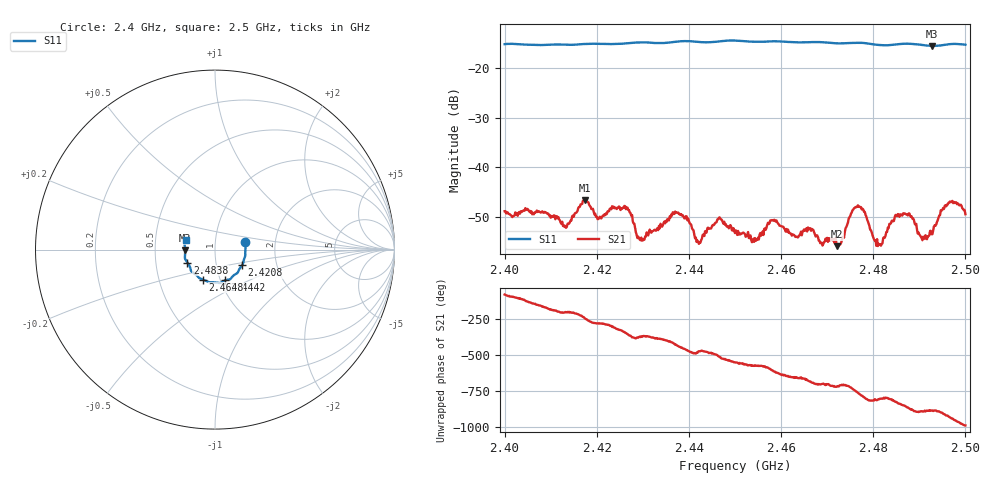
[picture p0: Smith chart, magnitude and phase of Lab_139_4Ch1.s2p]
# Hz S RI R 50
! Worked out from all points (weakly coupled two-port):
!   601 points, 2.4 GHz to 2.5 GHz, reference 50 ohm
!   highest |S21| = -46.57 dB at 2.4175 GHz (marker M1); lowest = -55.9 dB at 2.4722 GHz (marker M2)
!   lowest |S11| = -15.6 dB at 2.4928 GHz (marker M3), VSWR 1.40, Z = 35.8 - j0.356 ohm
!   |S11| at or under -10 dB: start of sweep to end of sweep
!   S12 and S22 are empty: the file has one direction only
!   S11 on the Smith chart (normalised r, x): 2.4 GHz: 1.40, +0.12; 2.4208 GHz: 1.33, -0.24; 2.4442 GHz: 1.05, -0.37; 2.4648 GHz: 0.83, -0.29; 2.4838 GHz: 0.73, -0.11; 2.5 GHz: 0.72, +0.08
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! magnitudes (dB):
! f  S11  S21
! 2.4 GHz  -15.2  -48.8
! 2.4132 GHz  -15.3  -51.8
! 2.4167 GHz  -15.3  -47.4
! 2.4175 GHz  -15.2  -46.6
! 2.4208 GHz  -15.2  -50.2
! 2.4262 GHz  -15.1  -47.8
! 2.4293 GHz  -14.9  -54.5
! 2.4333 GHz  -15.0  -52.6
! 2.437 GHz  -14.8  -48.9
! 2.442 GHz  -14.8  -55.0
! 2.4442 GHz  -14.9  -52.1
! 2.45 GHz  -14.5  -53.2
! 2.4648 GHz  -14.9  -52.7
! 2.4667 GHz  -14.8  -52.4
! 2.4722 GHz  -15.1  -55.9
! 2.4763 GHz  -15.0  -48.0
! 2.4812 GHz  -15.4  -55.4
! 2.4833 GHz  -15.5  -52.2
! 2.4838 GHz  -15.4  -51.3
! 2.4928 GHz  -15.6  -53.4
! 2.4967 GHz  -15.2  -46.9
! 2.5 GHz  -15.4  -49.4
